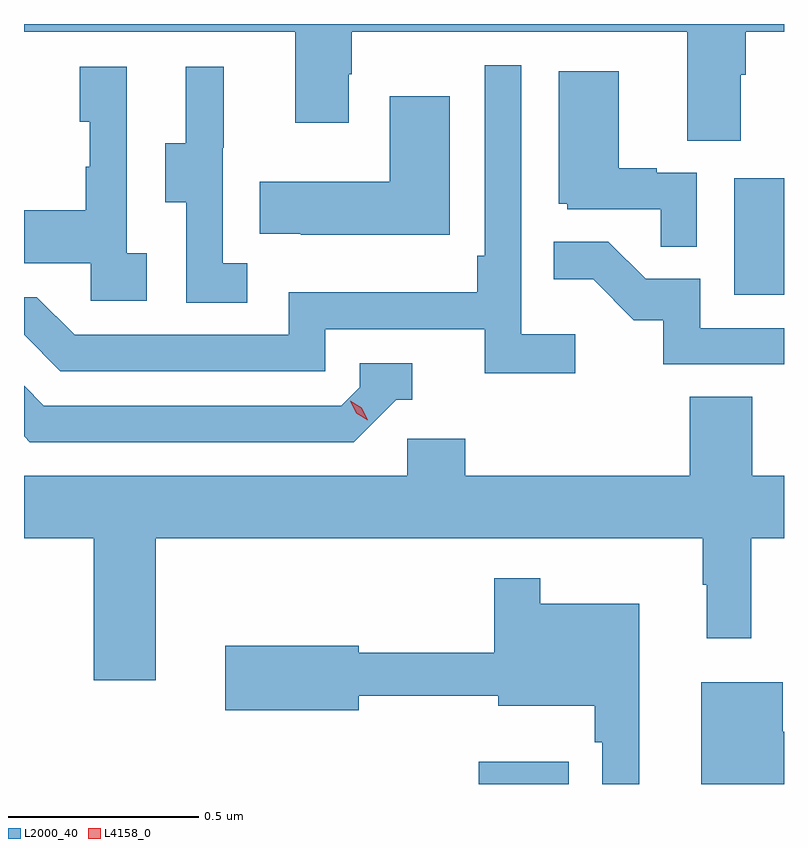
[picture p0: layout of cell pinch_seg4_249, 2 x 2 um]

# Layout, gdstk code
import gdstk
lib = gdstk.Library(unit=1e-6, precision=1e-09)
def R(c, l, rs):  # rectangles x0, y0, x1, y1
    for r in rs: c.add(gdstk.rectangle(r[:2], r[2:], *l))
def P(c, l, *ps):  # polygons
    for p in ps: c.add(gdstk.Polygon(p, *l))
L2000_40 = (2000, 40)
L4158_0 = (4158, 0)

pinch_seg4_249 = lib.new_cell('pinch_seg4_249')
R(pinch_seg4_249, L2000_40, [(897.29,817.485,897.526,817.543), (897.962,818.772,898.093,819.079)])
P(pinch_seg4_249, L2000_40, [(897.979,819.352),(897.992,819.352),(897.992,819.464),(898.093,819.464),(898.093,819.485),(896.093,819.485),(896.093,819.464),(896.807,819.464),(896.807,819.225),(896.947,819.225),(896.947,819.353),(896.955,819.353),(896.955,819.464),(897.839,819.464),(897.839,819.178),(897.979,819.178)],
  [(897.544,818.668),(897.402,818.668),(897.402,819.376),(897.306,819.376),(897.306,818.875),(897.286,818.875),(897.286,818.779),(896.79,818.779),(896.79,818.667),(896.226,818.667),(896.127,818.766),(896.093,818.766),(896.093,818.667),(896.189,818.571),(896.886,818.571),(896.886,818.682),(897.305,818.682),(897.305,818.566),(897.544,818.566)],
  [(896.68,818.855),(896.616,818.855),(896.616,819.159),(896.618,819.159),(896.618,819.373),(896.519,819.373),(896.519,819.171),(896.465,819.171),(896.465,819.016),(896.52,819.016),(896.52,818.752),(896.68,818.752)],
  [(896.416,818.882),(896.364,818.882),(896.364,819.373),(896.24,819.373),(896.24,819.228),(896.266,819.228),(896.266,819.11),(896.256,819.11),(896.256,818.995),(896.093,818.995),(896.093,818.855),(896.268,818.855),(896.268,818.757),(896.416,818.757)],
  [(897.864,819.093),(897.758,819.093),(897.758,819.106),(897.658,819.106),(897.658,819.361),(897.5,819.361),(897.5,819.012),(897.522,819.012),(897.522,818.997),(897.769,818.997),(897.769,818.899),(897.864,818.899)],
  [(897.214,819.295),(897.056,819.295),(897.056,819.07),(896.713,819.07),(896.713,818.933),(896.821,818.933),(896.821,818.93),(897.214,818.93)],
  [(898.093,818.685),(897.873,818.685),(897.873,818.814),(897.729,818.814),(897.631,818.912),(897.487,818.912),(897.487,818.813),(897.591,818.813),(897.698,818.706),(897.775,818.706),(897.775,818.589),(898.093,818.589)],
  [(897.072,818.496),(897.115,818.496),(897.115,818.592),(896.976,818.592),(896.976,818.529),(896.928,818.481),(896.145,818.481),(896.093,818.533),(896.093,818.4),(896.108,818.385),(896.961,818.385)],
  [(896.44,818.132),(897.879,818.132),(897.879,818.009),(897.89,818.009),(897.89,817.869),(898.007,817.869),(898.007,818.132),(898.093,818.132),(898.093,818.296),(898.01,818.296),(898.01,818.504),(897.845,818.504),(897.845,818.296),(897.254,818.296),(897.254,818.394),(897.102,818.394),(897.102,818.296),(896.093,818.296),(896.093,818.132),(896.276,818.132),(896.276,817.758),(896.44,817.758)],
  [(897.712,817.96),(897.451,817.96),(897.451,818.026),(897.33,818.026),(897.33,817.831),(896.974,817.831),(896.974,817.849),(896.622,817.849),(896.622,817.679),(896.974,817.679),(896.974,817.717),(897.341,817.717),(897.341,817.691),(897.595,817.691),(897.595,817.595),(897.615,817.595),(897.615,817.485),(897.712,817.485)],
  [(898.093,817.622),(898.09,817.622),(898.09,817.753),(897.875,817.753),(897.875,817.485),(898.093,817.485)])
P(pinch_seg4_249, L4158_0, [(896.998,818.442),(896.967,818.461),(896.951,818.494),(896.951,818.494),(896.951,818.494),(896.982,818.475),(896.998,818.442),(896.998,818.442)])

lib.write_gds('pinch_seg4_249.gds')
